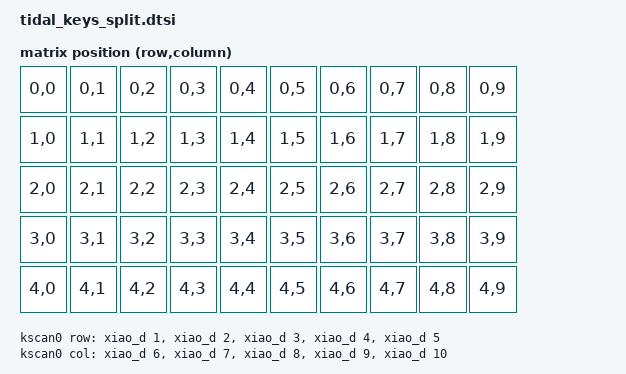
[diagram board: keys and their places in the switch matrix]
#include <dt-bindings/zmk/matrix_transform.h>

#include "tidal_keys_split-layouts.dtsi"
#include <dt-bindings/led/led.h>

/ {
    kscan0: kscan0 {
        compatible = "zmk,kscan-gpio-matrix";
        diode-direction = "col2row";
        wakeup-source;

        row-gpios
            = <&xiao_d 1 (GPIO_ACTIVE_HIGH | GPIO_PULL_DOWN)>
            , <&xiao_d 2 (GPIO_ACTIVE_HIGH | GPIO_PULL_DOWN)>
            , <&xiao_d 3 (GPIO_ACTIVE_HIGH | GPIO_PULL_DOWN)>
            , <&xiao_d 4 (GPIO_ACTIVE_HIGH | GPIO_PULL_DOWN)>
            , <&xiao_d 5 (GPIO_ACTIVE_HIGH | GPIO_PULL_DOWN)>
            ;

        col-gpios
            = <&xiao_d 6 GPIO_ACTIVE_HIGH>
            , <&xiao_d 7 GPIO_ACTIVE_HIGH>
            , <&xiao_d 8 GPIO_ACTIVE_HIGH>
            , <&xiao_d 9 GPIO_ACTIVE_HIGH>
            , <&xiao_d 10 GPIO_ACTIVE_HIGH>
            ;
    };


    default_transform: keymap_transform0 {
        compatible = "zmk,matrix-transform";
        columns = <10>;
        rows = <5>;
        map = <
        //  LKey 1 |LKey 2 |LKey 3 |LKey 4 |LKey 5    RKey 1 |RKey 2 |RKey 3 |RKey 4 |RKey 5    
            RC(0,0) RC(0,1) RC(0,2) RC(0,3) RC(0,4)   RC(0,5) RC(0,6) RC(0,7) RC(0,8) RC(0,9)
        //  LKey 6 |LKey 7 |LKey 8 |LKey 4 |LKey 9    RKey 6 |RKey 7 |RKey 8 |RKey 4 |RKey 9
            RC(1,0) RC(1,1) RC(1,2) RC(1,3) RC(1,4)   RC(1,5) RC(1,6) RC(1,7) RC(1,8) RC(1,9) 
        //  LKey 10|LKey 11|LKey 12|LKey 13|Lkey 14   rKey 10|RKey 11|RKey 12|RKey 13|Rkey 14
            RC(2,0) RC(2,1) RC(2,2) RC(2,3) RC(2,4)   RC(2,5) RC(2,6) RC(2,7) RC(2,8) RC(2,9) 
        //  LKey 15|LKey 16|LKey 17|LKey 18|LKey 19   RKey 15|RKey 16|RKey 17|RKey 18|RKey 19
            RC(3,0) RC(3,1) RC(3,2) RC(3,3) RC(3,4)   RC(3,5) RC(3,6) RC(3,7) RC(3,8) RC(3,9) 
        //  LKey 20|LKey 21|LKey 22|LKey 23|LKey 24   rKey 20|RKey 21|RKey 22|RKey 23|RKey 24 
            RC(4,0) RC(4,1) RC(4,2) RC(4,3) RC(4,4)   RC(4,5) RC(4,6) RC(4,7) RC(4,8) RC(4,9) 
        >;
    };
};

&pinctrl {
    spi3_default: spi3_default {
        group1 {
            psels = <NRF_PSEL(SPIM_MOSI, 0, 2)>;
        };
    };

    spi3_sleep: spi3_sleep {
        group1 {
            psels = <NRF_PSEL(SPIM_MOSI, 0, 2)>;
            low-power-enable;
        };
    };
};

&spi3 {
    compatible = "nordic,nrf-spim";
    status = "okay";

    pinctrl-0 = <&spi3_default>;
    pinctrl-1 = <&spi3_sleep>;
    pinctrl-names = "default", "sleep";

    led_strip: ws2812@0 {
        compatible = "worldsemi,ws2812-spi";

        /* SPI */
        reg = <0>; /* ignored, but necessary for SPI bindings */
        spi-max-frequency = <4000000>;

        /* WS2812 */
        chain-length = <10>; /* number of LEDs */
        spi-one-frame = <0x70>;
        spi-zero-frame = <0x40>;
        color-mapping = <LED_COLOR_ID_GREEN
                         LED_COLOR_ID_RED
                         LED_COLOR_ID_BLUE>;
    };
};



/ {
    chosen {
        zmk,kscan = &kscan0;
        zmk,physical-layout = &physical_layout0;
    };
};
